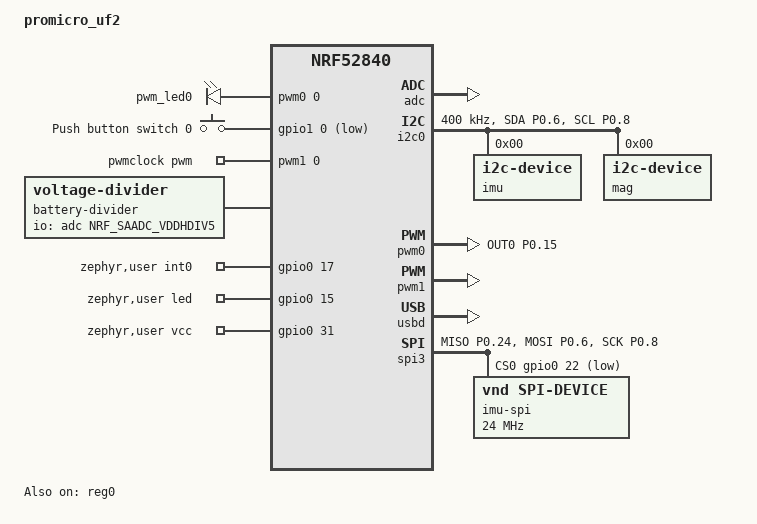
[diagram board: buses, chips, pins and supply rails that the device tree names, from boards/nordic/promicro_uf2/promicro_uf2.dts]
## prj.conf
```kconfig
#CONFIG_NCS_SAMPLES_DEFAULTS
CONFIG_ASSERT=y
CONFIG_ASSERT_NO_COND_INFO=y
CONFIG_ASSERT_NO_MSG_INFO=y
CONFIG_RESET_ON_FATAL_ERROR=y

CONFIG_NCS_APPLICATION_BOOT_BANNER_STRING="SlimeVR-Tracker-nRF"
#CONFIG_NCS_BOOT_BANNER=n
CONFIG_BOOT_BANNER=n

CONFIG_ESB=y
#need to enable for nRF54L
#CONFIG_NRFX_DPPI10=y

CONFIG_ADC=y
CONFIG_ADC_NRFX_SAADC=y
CONFIG_FPU=y
CONFIG_I2C=y
CONFIG_SPI=y
CONFIG_PINCTRL=y
CONFIG_SENSOR=y
CONFIG_ESB=y

CONFIG_CMSIS_DSP=y
CONFIG_CMSIS_DSP_BASICMATH=y
CONFIG_CMSIS_DSP_CONTROLLER=y
CONFIG_CMSIS_DSP_FASTMATH=y
CONFIG_CMSIS_DSP_SUPPORT=y

CONFIG_NVS=y
CONFIG_NVS_LOOKUP_CACHE=y
CONFIG_NVS_INIT_BAD_MEMORY_REGION=y

CONFIG_POWEROFF=y
CONFIG_REBOOT=y

CONFIG_FLASH=y
CONFIG_FLASH_PAGE_LAYOUT=y
CONFIG_FLASH_MAP=y

CONFIG_SETTINGS=y
CONFIG_SETTINGS_RUNTIME=y
CONFIG_SETTINGS_NONE=y

CONFIG_MPU_ALLOW_FLASH_WRITE=y

CONFIG_RETAINED_MEM=y

CONFIG_USE_SEGGER_RTT=y
CONFIG_LOG=y
#CONFIG_PRINTK=y
CONFIG_LOG_MODE_DEFERRED=y
CONFIG_LOG_SPEED=y
CONFIG_LOG_BACKEND_RTT=y
CONFIG_CBPRINTF_FP_SUPPORT=y
CONFIG_ADC_LOG_LEVEL_OFF=y
CONFIG_LOG_FUNC_NAME_PREFIX_ERR=y
CONFIG_LOG_BUFFER_SIZE=1536
CONFIG_LOG_BACKEND_UART_AUTOSTART=n
CONFIG_LOG_PROCESS_THREAD_SLEEP_MS=50
CONFIG_LOG_PROCESS_THREAD_STACK_SIZE=1024

CONFIG_PWM=y
CONFIG_GPIO=y

CONFIG_CRC=y

CONFIG_NEWLIB_LIBC=y
#deprecated?
#CONFIG_NRFX_TIMER1=y

# Use uncalibrated RC clock on boot, will switch to external oscillator in the app after boot
CONFIG_CLOCK_CONTROL_NRF_K32SRC_RC=y
CONFIG_CLOCK_CONTROL_NRF_K32SRC_RC_CALIBRATION=y
CONFIG_CLOCK_CONTROL_NRF_K32SRC_SYNTH=n

# dont need it
CONFIG_CRYPTO=n

# set timeout for 25ms, sufficient for ~1000 bytes
CONFIG_I2C_NRFX_TRANSFER_TIMEOUT=25

CONFIG_USB_DEVICE_HID=y
CONFIG_USB_DEVICE_VID=0x1209
CONFIG_USB_DEVICE_PID=0x7692
CONFIG_USB_HID_BOOT_PROTOCOL=y
CONFIG_USB_DEVICE_INITIALIZE_AT_BOOT=n
CONFIG_USB_CDC_ACM=y
CONFIG_UART_INTERRUPT_DRIVEN=y
CONFIG_USB_WORKQUEUE_STACK_SIZE=512

CONFIG_SERIAL=y
CONFIG_CONSOLE=y
CONFIG_RTT_CONSOLE=y
CONFIG_UART_CONSOLE=y
CONFIG_UART_LINE_CTRL=y
# fit "write all <base64:173>"
CONFIG_CONSOLE_INPUT_MAX_LINE_LEN=256

CONFIG_LOG=y
CONFIG_USB_DRIVER_LOG_LEVEL_ERR=y
CONFIG_USB_DEVICE_LOG_LEVEL_ERR=y
CONFIG_USB_CDC_ACM_LOG_LEVEL_OFF=y

CONFIG_LOG_BACKEND_UART=y

CONFIG_CONSOLE_SUBSYS=y
CONFIG_CONSOLE_GETLINE=y

CONFIG_NVS_LOG_LEVEL_WRN=y
CONFIG_USB_HID_LOG_LEVEL_WRN=y

CONFIG_USB_DEVICE_SOF=y
CONFIG_USB_HID_REPORTS=256

#CONFIG_USB_HID_POLL_INTERVAL_MS=1
CONFIG_USB_HID_POLL_INTERVAL_MS=0
CONFIG_HID_INTERRUPT_EP_MPS=64
#CONFIG_ENABLE_HID_INT_OUT_EP=y

CONFIG_SYSTEM_WORKQUEUE_STACK_SIZE=256
CONFIG_MAIN_STACK_SIZE=512
#crashing on nrf54l at 512

CONFIG_THREAD_NAME=y

CONFIG_HEAP_MEM_POOL_SIZE=2048
CONFIG_ISR_STACK_SIZE=1024

CONFIG_PM_DEVICE=y

CONFIG_BASE64=y

#CONFIG_THREAD_ANALYZER=y
#CONFIG_THREAD_ANALYZER_AUTO=y
#CONFIG_THREAD_ANALYZER_AUTO_INTERVAL=5

#about 20KB saved
#CONFIG_LTO=y
#CONFIG_ISR_TABLES_LOCAL_DECLARATION=y

#CONFIG_USE_IMU_TIMEOUT=n

# Matches the SlimeNRF_Tracker_NoCLK_NoSleep_SPI_StackedSmol build
# Internal RC clock, like the original build. The board may have no external oscillator.
CONFIG_CLOCK_SOURCE_LFCLK_RC=y
CONFIG_USE_SENSOR_CLOCK=n
CONFIG_USER_EXTRA_ACTIONS=y
CONFIG_SENSOR_USE_MAG=n
CONFIG_USE_IMU_WAKE_UP=n
CONFIG_USE_ACTIVE_TIMEOUT=n
CONFIG_SENSOR_LP_TIMEOUT=300000
CONFIG_SENSOR_USE_LOW_POWER_2=n
```

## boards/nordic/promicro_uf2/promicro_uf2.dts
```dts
// Copyright (c) 2024 Nordic Semiconductor ASA
// SPDX-License-Identifier: Apache-2.0

/dts-v1/;
#include <nordic/nrf52840_qiaa.dtsi>

//move to dtsi?
&pinctrl {
	i2c0_default: i2c0_default {
		group1 {
			psels = <NRF_PSEL(TWIM_SDA, 0, 6)>, <NRF_PSEL(TWIM_SCL, 0, 8)>;
			bias-disable;
		};
	};

	i2c0_sleep: i2c0_sleep {
		group1 {
			psels = <NRF_PSEL(TWIM_SDA, 0, 6)>, <NRF_PSEL(TWIM_SCL, 0, 8)>;
			bias-disable;
			low-power-enable;
		};
	};

	pwm0_default: pwm0_default {
		group1 {
			psels = <NRF_PSEL(PWM_OUT0, 0, 15)>;
			nordic,drive-mode = <NRF_DRIVE_D0S1>;
		};
	};

	pwm0_sleep: pwm0_sleep {
		group1 {
			psels = <NRF_PSEL(PWM_OUT0, 0, 15)>;
			low-power-enable;
		};
	};

	pwm1_default: pwm1_default {
		group1 {
			psels = <NRF_PIN_DISCONNECTED>;
		};
	};

	pwm1_sleep: pwm1_sleep {
		group1 {
			psels = <NRF_PIN_DISCONNECTED>;
			low-power-enable;
		};
	};

	spi3_default: spi3_default {
		group1 {
			psels = <NRF_PSEL(SPIM_MISO, 0, 24)>,
					<NRF_PSEL(SPIM_MOSI, 0, 6)>,
					<NRF_PSEL(SPIM_SCK, 0, 8)>;
		};
	};

	spi3_sleep: spi3_sleep {
		group1 {
			psels = <NRF_PSEL(SPIM_MISO, 0, 24)>,
					<NRF_PSEL(SPIM_MOSI, 0, 6)>,
					<NRF_PSEL(SPIM_SCK, 0, 8)>;
			low-power-enable;
		};
	};
};
//end

/ {
	model = "promicro_uf2";
	compatible = "promicro_uf2";

	chosen {
		zephyr,sram = &sram0;
		zephyr,flash = &flash0;
		zephyr,console = &cdc_acm_uart0;
		zephyr,shell-uart = &cdc_acm_uart0;
	};

	pwmleds {
		compatible = "pwm-leds";
		pwm_led0: pwm_led_0 {
			pwms = <&pwm0 0 PWM_MSEC(1) PWM_POLARITY_NORMAL>;
		};
	};

	buttons {
		compatible = "gpio-keys";
		button0: button_0 {
			gpios = <&gpio1 0 (GPIO_PULL_UP | GPIO_ACTIVE_LOW)>;
			label = "Push button switch 0";
		};
	};

	aliases {
		sw0 = &button0; // Uncomment to Enable SW0
		pwm-led0 = &pwm_led0;
	};

	pwmclock: pwmclock {
		compatible = "pwm-clock";
		#clock-cells = <1>;
		pwms = <&pwm1 0 PWM_HZ(32768) PWM_POLARITY_NORMAL>;
	};

	battery-divider {
		compatible = "voltage-divider";
		status = "okay";
		io-channels = <&adc NRF_SAADC_VDDHDIV5>; // Measure VDDHDIV5
		output-ohms = <1>;
		full-ohms = <5>;
	};

	zephyr,user {
		int0-gpios = <&gpio0 17 0>;
		led-gpios = <&gpio0 15 GPIO_OPEN_SOURCE>;
		// // clk-gpios = <&gpio0 20 GPIO_OPEN_DRAIN>; // Uncomment and set to correct pin if using an external clock (crystal oscillator)
		vcc-gpios = <&gpio0 31 0>;
	};

};

&reg0 {
	status = "okay";
};

&reg1 {
	regulator-initial-mode = <NRF5X_REG_MODE_DCDC>;
};

&adc {
	status = "okay";
};

&gpiote {
	status = "okay";
};

&gpio0 {
	status = "okay";
};

&gpio1 {
	status = "okay";
};

&i2c0 {
	compatible = "nordic,nrf-twim";
	status = "okay";
	zephyr,concat-buf-size = <1023>;
	zephyr,flash-buf-max-size = <1023>;
	clock-frequency = <I2C_BITRATE_FAST>;
	pinctrl-0 = <&i2c0_default>;
	pinctrl-1 = <&i2c0_sleep>;
	pinctrl-names = "default", "sleep";

	imu: imu@0 { // any address out of range (00, 7f, etc. will search all addresses and stored address first if available, specify an address here to search first otherwise
		compatible = "i2c-device";
		label = "imu";
		reg = <0>;
	};

	mag: mag@0 {
		compatible = "i2c-device";
		label = "mag";
		reg = <0>;
	};

};

&pwm0 {
	status = "okay";
	pinctrl-0 = <&pwm0_default>;
	pinctrl-1 = <&pwm0_sleep>;
	pinctrl-names = "default", "sleep";
};

&pwm1 {
	status = "okay";
	pinctrl-0 = <&pwm1_default>;
	pinctrl-1 = <&pwm1_sleep>;
	pinctrl-names = "default", "sleep";
};

zephyr_udc0: &usbd {
	compatible = "nordic,nrf-usbd";
	status = "okay";
	cdc_acm_uart0: cdc_acm_uart0 {
		compatible = "zephyr,cdc-acm-uart";
	};
};

&cryptocell {
	status = "disabled";
};

&nfct {
	status = "disabled";
};

&spi3 {
	compatible = "nordic,nrf-spim";
	status = "okay";
	max-frequency = <DT_FREQ_M(24)>;
	pinctrl-0 = <&spi3_default>;
	pinctrl-1 = <&spi3_sleep>;
	pinctrl-names = "default", "sleep";
	cs-gpios = <&gpio0 22 GPIO_ACTIVE_LOW>;

	imu_spi: imu_spi@0 {
		compatible = "vnd,spi-device";
		spi-max-frequency = <DT_FREQ_M(24)>;
		label = "imu-spi";
		reg = <0>;
	};
};
```

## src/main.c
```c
/*
	SlimeVR Code is placed under the MIT license
	Copyright (c) 2025 SlimeVR Contributors

	Permission is hereby granted, free of charge, to any person obtaining a copy
	of this software and associated documentation files (the "Software"), to deal
	in the Software without restriction, including without limitation the rights
	to use, copy, modify, merge, publish, distribute, sublicense, and/or sell
	copies of the Software, and to permit persons to whom the Software is
	furnished to do so, subject to the following conditions:

	The above copyright notice and this permission notice shall be included in
	all copies or substantial portions of the Software.

	THE SOFTWARE IS PROVIDED "AS IS", WITHOUT WARRANTY OF ANY KIND, EXPRESS OR
	IMPLIED, INCLUDING BUT NOT LIMITED TO THE WARRANTIES OF MERCHANTABILITY,
	FITNESS FOR A PARTICULAR PURPOSE AND NONINFRINGEMENT. IN NO EVENT SHALL THE
	AUTHORS OR COPYRIGHT HOLDERS BE LIABLE FOR ANY CLAIM, DAMAGES OR OTHER
	LIABILITY, WHETHER IN AN ACTION OF CONTRACT, TORT OR OTHERWISE, ARISING FROM,
	OUT OF OR IN CONNECTION WITH THE SOFTWARE OR THE USE OR OTHER DEALINGS IN
	THE SOFTWARE.
*/
#include "globals.h"
#include "system/system.h"
//#include "timer.h"
#include "connection/esb.h"
#include "sensor/sensor.h"

#include <zephyr/sys/reboot.h>

LOG_MODULE_REGISTER(main, LOG_LEVEL_INF);

#if DT_NODE_HAS_PROP(DT_ALIAS(sw0), gpios)
#define BUTTON_EXISTS true
#endif

#include <zephyr/drivers/gpio.h>
#define ZEPHYR_USER_NODE DT_PATH(zephyr_user)
#if DT_NODE_HAS_PROP(ZEPHYR_USER_NODE, pwr_gpios)
static const struct gpio_dt_spec pwr = GPIO_DT_SPEC_GET(ZEPHYR_USER_NODE, pwr_gpios);
#endif
#if DT_NODE_HAS_PROP(ZEPHYR_USER_NODE, gnd_gpios)
static const struct gpio_dt_spec gnd = GPIO_DT_SPEC_GET(ZEPHYR_USER_NODE, gnd_gpios);
#endif
#define DFU_EXISTS CONFIG_BUILD_OUTPUT_UF2 || CONFIG_BOARD_HAS_NRF5_BOOTLOADER
#define ADAFRUIT_BOOTLOADER CONFIG_BUILD_OUTPUT_UF2

int main(void)
{
#if DT_NODE_HAS_PROP(ZEPHYR_USER_NODE, pwr_gpios)
    gpio_pin_configure_dt(&pwr, GPIO_OUTPUT_ACTIVE);
    gpio_pin_set_dt(&pwr, 1);
#endif
#if DT_NODE_HAS_PROP(ZEPHYR_USER_NODE, gnd_gpios)
    gpio_pin_configure_dt(&gnd, GPIO_OUTPUT_ACTIVE);
    gpio_pin_set_dt(&gnd, 0);
#endif
#ifdef NRF_RESET
	bool reset_pin_reset = NRF_RESET->RESETREAS & RESET_RESETREAS_RESETPIN_Msk;
	NRF_RESET->RESETREAS = NRF_RESET->RESETREAS; // Clear RESETREAS
#else
	bool reset_pin_reset = NRF_POWER->RESETREAS & POWER_RESETREAS_RESETPIN_Msk;
	NRF_POWER->RESETREAS = NRF_POWER->RESETREAS; // Clear RESETREAS
#endif

#if BUTTON_EXISTS
	if (CONFIG_0_SETTINGS_READ(CONFIG_0_IGNORE_RESET))
		reset_pin_reset = false;
#endif

	set_led(SYS_LED_PATTERN_ONESHOT_WAKE, SYS_LED_PRIORITY_BOOT); // Boot LED

	uint8_t reboot_counter = reboot_counter_read();
	bool booting_from_shutdown = !reboot_counter && (reset_pin_reset || button_read()); // 0 means from user shutdown or failed ram validation

	/* if button is not held after booting from shutdown, power off again
	 * if button press is normal, continue boot
	 * if button is held for 1 second, reset pairing and continue boot
	 * if button is held but tracker was waking (not booting from shutdown) ignore the press // TODO: this should pass on to regular handler (e.g. intent to shutdown)
	 */

	if (booting_from_shutdown)
	{
		set_led(SYS_LED_PATTERN_ONESHOT_POWERON, SYS_LED_PRIORITY_BOOT);
		if (button_read())
		{
			set_status(SYS_STATUS_BUTTON_PRESSED, true); // prevent going to sleep while still holding
			int64_t start_time = k_uptime_get();
			while (button_read())
			{
				if (k_uptime_get() - start_time > 1000)
				{
					LOG_INF("Pairing requested");
					pairing_request_pair();
					break;
				}
				k_msleep(1);
			}
			if (CONFIG_0_SETTINGS_READ(CONFIG_0_USER_SHUTDOWN) && k_uptime_get() - start_time < 50) // debounce // TODO: does sense pin stay configured?
				sys_request_system_silent_off(false);
			set_status(SYS_STATUS_BUTTON_PRESSED, false);
		}
	}

	bool docked = dock_read();

	uint8_t reset_mode = -1;

	if (reboot_counter == 0)
		reboot_counter = 100;
	else if (reboot_counter > 200)
		reboot_counter = 200; // How did you get here
	reset_mode = reboot_counter - 100;
	if (reset_pin_reset && !docked) // Count pin resets while not docked
	{
		reboot_counter++;
		reboot_counter_write(reboot_counter);
		LOG_INF("Reset count: %u", reboot_counter);
#if ADAFRUIT_BOOTLOADER
#if BUTTON_EXISTS
		if (!CONFIG_0_SETTINGS_READ(CONFIG_0_IGNORE_RESET))
			NRF_POWER->GPREGRET = 0x6d; // Using Adafruit bootloader, skip DFU if reset button could be used
#else
		NRF_POWER->GPREGRET = 0x6d; // Using Adafruit bootloader, skip DFU since reset button is used
#endif
#endif
		k_msleep(1000); // Wait before clearing counter and continuing
	}
	reboot_counter_write(100);
	if (!reset_pin_reset && reset_mode == 0) // Only need to check once, if the button is pressed again an interrupt is triggered from before
		reset_mode = -1; // Cancel reset_mode (shutdown)

	if (CONFIG_0_SETTINGS_READ(CONFIG_0_USER_SHUTDOWN))
	{
		bool charging = chg_read();
		bool charged = stby_read();
		bool plugged = vin_read();

		if (reset_mode == 0 && !booting_from_shutdown && !charging && !charged && !plugged) // Reset mode user shutdown, only if unplugged and undocked
			sys_user_shutdown();
	}

	sys_reset_mode(reset_mode);

	return 0;
}
```

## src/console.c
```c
#include "globals.h"
#include "system/system.h"
#include "system/battery_tracker.h"
#include "sensor/sensor.h"
#include "sensor/calibration.h"
#include "connection/esb.h"
#include "build_defines.h"
#include "parse_args.h"
#include "connection/pairing.h"

#if CONFIG_USB_DEVICE_STACK
#define USB DT_NODELABEL(usbd)
#define USB_EXISTS (DT_NODE_HAS_STATUS(USB, okay) && CONFIG_UART_CONSOLE)
#endif

#if (USB_EXISTS || CONFIG_RTT_CONSOLE) && CONFIG_USE_SLIMENRF_CONSOLE

#if USB_EXISTS
#include <zephyr/console/console.h>
#include <zephyr/logging/log_ctrl.h>
#else
#include "system/rtt_console.h"
#endif
#include <zephyr/drivers/gpio.h>
#include <zephyr/sys/base64.h>

#include <ctype.h>

LOG_MODULE_REGISTER(console, LOG_LEVEL_INF);

static void console_thread(void);
#if USB_EXISTS
static struct k_thread console_thread_id;
static K_THREAD_STACK_DEFINE(console_thread_stack, 1024); // TODO: larger stack size to handle print info
#else
K_THREAD_DEFINE(console_thread_id, 1024, console_thread, NULL, NULL, NULL, CONSOLE_THREAD_PRIORITY, 0, 0);
#endif

#define DFU_EXISTS CONFIG_BUILD_OUTPUT_UF2 || CONFIG_BOARD_HAS_NRF5_BOOTLOADER
#define ADAFRUIT_BOOTLOADER CONFIG_BUILD_OUTPUT_UF2
#define NRF5_BOOTLOADER CONFIG_BOARD_HAS_NRF5_BOOTLOADER

#if NRF5_BOOTLOADER
static const struct device *gpio_dev = DEVICE_DT_GET(DT_NODELABEL(gpio0));
#endif

static const char *meows[] = {
	"Mew",
	"Meww",
	"Meow",
	"Meow meow",
	"Mrrrp",
	"Mrrf",
	"Mreow",
	"Mrrrow",
	"Mrrr",
	"Purr",
	"mew",
	"meww",
	"meow",
	"meow meow",
	"mrrrp",
	"mrrf",
	"mreow",
	"mrrrow",
	"mrrr",
	"purr",
};

static const char *meow_punctuations[] = {
	".",
	"?",
	"!",
	"-",
	"~",
	""
};

static const char *meow_suffixes[] = {
	" :3",
	" :3c",
	" ;3",
	" ;3c",
	" x3",
	" x3c",
	" X3",
	" X3c",
	" >:3",
	" >:3c",
	" >;3",
	" >;3c",
	""
};

static uint8_t meow_colors[] = {
	212,
	176,
	177
};

void console_thread_create(void)
{
#if USB_EXISTS
	k_thread_create(&console_thread_id, console_thread_stack, K_THREAD_STACK_SIZEOF(console_thread_stack), (k_thread_entry_t)console_thread, NULL, NULL, NULL, CONSOLE_THREAD_PRIORITY, 0, K_NO_WAIT);
#endif
}

void console_thread_abort(void)
{
#if USB_EXISTS
	k_thread_abort(&console_thread_id);
#endif
}

static void print_board(void)
{
#if USB_EXISTS
	printk(CONFIG_USB_DEVICE_MANUFACTURER " " CONFIG_USB_DEVICE_PRODUCT "\n");
#endif
	printk(FW_STRING);
    printk("Commit: " TOSTRING(APP_BUILD_VERSION) "\n");
    printk("Build: %d-%02d-%02d %02d:%02d:%02d\n", BUILD_YEAR, BUILD_MONTH, BUILD_DAY, BUILD_HOUR, BUILD_MIN, BUILD_SEC);

	printk("\nBoard: " CONFIG_BOARD "\n");
	printk("SOC: " CONFIG_SOC "\n");
	printk("Target: " CONFIG_BOARD_TARGET "\n");
}

static void print_sensor(void)
{
	printk("IMU: %s\n", (retained->imu_addr & 0x7F) != 0x7F ? sensor_get_sensor_imu_name() : "Not searching");
	if (retained->imu_reg != 0xFF)
		printk("Interface: %s\n", (retained->imu_reg & 0x80) ? "SPI" : "I2C");
	printk("Address: 0x%02X%02X\n", retained->imu_addr, retained->imu_reg);

#if SENSOR_MAG_EXISTS
	printk("\nMagnetometer: %s\n", (retained->mag_addr & 0x7F) != 0x7F ? sensor_get_sensor_mag_name() : "Not searching");
	if (retained->mag_reg != 0xFF)
		printk("Interface: %s%s\n", (retained->mag_reg & 0x80) ? "SPI" : "I2C", (retained->mag_addr & 0x80) ? ", external" : "");
	printk("Address: 0x%02X%02X\n", retained->mag_addr, retained->mag_reg);
#endif

	if (CONFIG_1_SETTINGS_READ(CONFIG_1_SENSOR_USE_6_SIDE_CALIBRATION))
	{
		printk("\nAccelerometer matrix:\n");
		for (int i = 0; i < 3; i++)
			printk("%.5f %.5f %.5f %.5f\n", (double)retained->accBAinv[0][i], (double)retained->accBAinv[1][i], (double)retained->accBAinv[2][i], (double)retained->accBAinv[3][i]);
	}
	else
	{
		printk("\nAccelerometer bias: %.5f %.5f %.5f\n", (double)retained->accelBias[0], (double)retained->accelBias[1], (double)retained->accelBias[2]);
	}
	printk("Gyroscope bias: %.5f %.5f %.5f\n", (double)retained->gyroBias[0], (double)retained->gyroBias[1], (double)retained->gyroBias[2]);
#if SENSOR_MAG_EXISTS
//	printk("Magnetometer bridge offset: %.5f %.5f %.5f\n", (double)retained->magBias[0], (double)retained->magBias[1], (double)retained->magBias[2]);
	printk("Magnetometer matrix:\n");
	for (int i = 0; i < 3; i++)
		printk("%.5f %.5f %.5f %.5f\n", (double)retained->magBAinv[0][i], (double)retained->magBAinv[1][i], (double)retained->magBAinv[2][i], (double)retained->magBAinv[3][i]);
#endif

	printk("\nFusion: %s\n", sensor_get_sensor_fusion_name());
}

static void print_connection(void)
{
	int active = pairing_active_slot();
	int other = active == 0 ? 1 : 0;
	bool paired = (pairing_paired_mask() & (1 << active)) != 0;
	printk(paired ? "Tracker ID: %u\n" : "Tracker ID: None\n", pairing_get_tracker_id(active));
	printk("Device address: %012llX\n", *(uint64_t *)NRF_FICR->DEVICEADDR & 0xFFFFFFFFFFFF);
	printk(paired ? "Receiver address: %012llX\n" : "Receiver address: None\n", pairing_get_dongle(active));
	if (pairing_paired_mask() & (1 << other))
		printk("Second receiver address: %012llX, tracker ID: %u\n", pairing_get_dongle(other), pairing_get_tracker_id(other));
	printk("Channel frequency: %d\n", esb_get_frequency());
	printk("Device status: %d, ESB state: %d\n", get_status(SYS_STATUS_ALL), esb_get_tracker_state());
}

static void print_battery(void)
{
	int battery_mV = sys_get_valid_battery_mV();
	int16_t calibrated_pptt = sys_get_calibrated_battery_pptt(sys_get_valid_battery_pptt());
	uint64_t unplugged_time = sys_get_last_unplugged_time();
	uint64_t remaining = sys_get_battery_remaining_time_estimate();
	uint64_t runtime = sys_get_battery_runtime_estimate();
	if (battery_mV > 0)
	{
		unplugged_time = k_ticks_to_us_floor64(k_uptime_ticks() - unplugged_time);
		uint32_t hours = unplugged_time / 3600000000;
		unplugged_time %= 3600000000;
		uint8_t minutes = unplugged_time / 60000000;
		if (hours > 0 || minutes > 0)
			printk("Battery: %.0f%% (Read %uh %umin ago)\n", (double)calibrated_pptt / 100.0, hours, minutes);
		else
			printk("Battery: %.0f%%\n", (double)calibrated_pptt / 100.0);
	}
	else if (unplugged_time == 0)
	{
		printk("Battery: Waiting for valid reading\n");
	}
	else
	{
		printk("Battery: None\n");
	}
	if (remaining > 0)
	{
		remaining = k_ticks_to_us_floor64(remaining);
		uint32_t hours = remaining / 3600000000;
		remaining %= 3600000000;
		uint8_t minutes = remaining / 60000000;
		printk("Remaining runtime: %uh %umin\n", hours, minutes);
	}
	else
	{
		printk("Remaining runtime: Not available\n");
	}
	if (runtime > 0)
	{
		runtime = k_ticks_to_us_floor64(runtime);
		uint32_t hours = runtime / 3600000000;
		runtime %= 3600000000;
		uint8_t minutes = runtime / 60000000;
		printk("Fully charged runtime: %uh %umin\n", hours, minutes);
	}
	else
	{
		printk("Fully charged runtime: Not available\n");
	}
}

static void print_info(void)
{
	print_board();
	printk("\n");
	print_sensor();
	printk("\n");
	print_connection();
	printk("\n");
	print_battery();
}

static void print_uptime(const uint64_t ticks, const char *name)
{
	uint64_t uptime = k_ticks_to_us_floor64(ticks);

	uint32_t hours = uptime / 3600000000;
	uptime %= 3600000000;
	uint8_t minutes = uptime / 60000000;
	uptime %= 60000000;
	uint8_t seconds = uptime / 1000000;
	uptime %= 1000000;
	uint16_t milliseconds = uptime / 1000;
	uint16_t microseconds = uptime % 1000;

	printk("%s: %02u:%02u:%02u.%03u,%03u\n", name, hours, minutes, seconds, milliseconds, microseconds);
}

static void print_battery_tracker(void)
{
	int adc_mV = sys_get_battery_mV();
	printk("ADC: %d mV\n", adc_mV);

	int battery_mV = sys_get_valid_battery_mV();
	int16_t pptt = sys_get_valid_battery_pptt();
	int16_t calibrated_pptt = sys_get_calibrated_battery_pptt(pptt);
	uint64_t unplugged_time = sys_get_last_unplugged_time();
	if (battery_mV > 0)
		printk("\nBattery: %.2f%% (Raw %.2f%%, %d mV)\n", (double)calibrated_pptt / 100.0, (double)pptt / 100.0, battery_mV);
	else
		printk("\nBattery: None\n");
	if (unplugged_time > 0)
		print_uptime(k_uptime_ticks() - unplugged_time, "Last updated");
	else
		printk("Last updated: Never\n");

	uint64_t runtime = sys_get_battery_runtime_estimate();
	uint64_t runtime_min = sys_get_battery_runtime_min_estimate();
	uint64_t runtime_max = sys_get_battery_runtime_max_estimate();
	uint64_t remaining = sys_get_battery_remaining_time_estimate();
	if (remaining > 0)
		print_uptime(remaining, "\nRemaining runtime");
	else
		printk("Remaining runtime: Not available\n");
	if (runtime > 0)
		print_uptime(runtime, "Fully charged runtime");
	else
		printk("Fully charged runtime: Not available\n");
	if (runtime_min > 0)
		print_uptime(runtime_min, "Minimum runtime");
	else
		printk("Minimum runtime: Not available\n");
	if (runtime_max > 0)
		print_uptime(runtime_max, "Maximum runtime");
	else
		printk("Maximum runtime: Not available\n");

	int16_t last_min = sys_get_last_cycle_min_pptt();
	int16_t last_max = sys_get_last_cycle_max_pptt();
	int16_t last_calibrated_min = sys_get_calibrated_battery_pptt(last_min);
	int16_t last_calibrated_max = sys_get_calibrated_battery_pptt(last_max);
	uint64_t last_runtime = sys_get_last_cycle_runtime();
	if (last_min >= 0 && last_max >= 0 && last_runtime > 0)
	{
		printk("\nLast discharge cycle: %.2f%% -> %.2f%% (Raw %.2f%% -> %.2f%%)\n", (double)last_calibrated_max / 100.0, (double)last_calibrated_min / 100.0, (double)last_max / 100.0, (double)last_min / 100.0);
		print_uptime(last_runtime, "Last cycle runtime");
	}
	else
	{
		printk("\nLast cycle: Not available\n");
	}

	uint8_t coverage = sys_get_battery_calibration_coverage() * 5;
	int16_t min = sys_get_calibrated_battery_range_min_pptt();
	int16_t max = sys_get_calibrated_battery_range_max_pptt();
	if (min >= 0 && max >= 0)
		printk("\nCalibration: %.0f%% - %.0f%% (%.0f%% coverage)\n", (double)min / 100.0, (double)max / 100.0, (double)coverage);
	else
		printk("\nCalibration: None\n");
	printk("Cycle count: ~%.2f\n", (double)sys_get_battery_cycles() / 20.0);
}

static void print_meow(void)
{
	int64_t ticks = k_uptime_ticks();

	ticks %= ARRAY_SIZE(meows) * ARRAY_SIZE(meow_punctuations) * ARRAY_SIZE(meow_suffixes) * ARRAY_SIZE(meow_colors); // silly number generator
	uint8_t meow = ticks / (ARRAY_SIZE(meow_punctuations) * ARRAY_SIZE(meow_suffixes) * ARRAY_SIZE(meow_colors));
	ticks %= ARRAY_SIZE(meow_punctuations) * ARRAY_SIZE(meow_suffixes) * ARRAY_SIZE(meow_colors);
	uint8_t punctuation = ticks / (ARRAY_SIZE(meow_suffixes) * ARRAY_SIZE(meow_colors));
	ticks %= ARRAY_SIZE(meow_suffixes) * ARRAY_SIZE(meow_colors);
	uint8_t suffix = ticks / ARRAY_SIZE(meow_suffixes);
	uint8_t color = ticks % ARRAY_SIZE(meow_colors);

	printk("\033[38;5;%d;1m%s%s\033[0;38;2;255;255;255m%s\033[0m\n", meow_colors[color], meows[meow], meow_punctuations[punctuation], meow_suffixes[suffix]);
}

static int32_t parse_config_settings_id(char *s)
{
	int32_t id = parse_i32(s, 10);
	uint8_t buf[12];
	snprintk(buf, 12, "%d", id);
	if (strcmp(buf, s) != 0)
		return -1;
	return id;
}

static int parse_config_settings_write(char *s, int32_t v)
{
	int32_t id = parse_config_settings_id(s);
	uint16_t k = 0;
	int err = -1;
	for (int i = 0; i < CONFIG_SETTINGS_COUNT; i++)
	{
		for (int j = 0; j < config_settings_count[i]; j++)
		{
			if (id < 0 ? strcmp(s, config_settings_names[k]) == 0 : id == k)
			{
				switch (i)
				{
				case 0:
					if (v < 0 || v > 1)
						break;
					config_0_settings_write(j, v);
					err = 0;
					break;
				case 1:
					if (v < 0 || v > 1)
						break;
					config_1_settings_write(j, v);
					err = 0;
					break;
				case 2:
					if (v < INT16_MIN || v > INT16_MAX)
						break;
					config_2_settings_write(j, v);
					err = 0;
					break;
				case 3:
					config_3_settings_write(j, v);
					err = 0;
					break;
				default:
					break;
				}
				if (!err)
					printk("Updated config: %s=%d\n", config_settings_names[k], v);
				else
					printk("Invalid value\n");
				return err;
			}
			k++;
		}
	}
	printk("Invalid config name or id\n");
	return -1;
}

static void parse_config_settings_read(char *s)
{
	int32_t id = parse_config_settings_id(s);
	uint16_t k = 0;
	for (int i = 0; i < CONFIG_SETTINGS_COUNT; i++)
	{
		for (int j = 0; j < config_settings_count[i]; j++)
		{
			if (id < 0 ? strcmp(s, config_settings_names[k]) == 0 : id == k)
			{
				int32_t val = -1;
				switch (i)
				{
				case 0:
					val = CONFIG_0_SETTINGS_READ(j) ? 1 : 0;
					break;
				case 1:
					val = CONFIG_1_SETTINGS_READ(j) ? 1 : 0;
					break;
				case 2:
					val = CONFIG_2_SETTINGS_READ(j);
					break;
				case 3:
					val = CONFIG_3_SETTINGS_READ(j);
					break;
				default:
					break;
				}
				printk("Read config: %s=%d\n", config_settings_names[k], val);
				return;
			}
			k++;
		}
	}
	printk("Invalid config name or id\n");
}

static void parse_config_settings_read_all()
{
	uint16_t k = 0;
	for (int i = 0; i < CONFIG_SETTINGS_COUNT; i++)
	{
		for (int j = 0; j < config_settings_count[i]; j++)
		{
			int32_t val = -1;
			switch (i)
			{
			case 0:
				val = CONFIG_0_SETTINGS_READ(j) ? 1 : 0;
				break;
			case 1:
				val = CONFIG_1_SETTINGS_READ(j) ? 1 : 0;
				break;
			case 2:
				val = CONFIG_2_SETTINGS_READ(j);
				break;
			case 3:
				val = CONFIG_3_SETTINGS_READ(j);
				break;
			default:
				break;
			}
			printk("Read config: %s=%d\n", config_settings_names[k], val);
			k++;
		}
	}
}

static int parse_config_settings_reset(char *s)
{
	int32_t id = parse_config_settings_id(s);
	uint16_t k = 0;
	for (int i = 0; i < CONFIG_SETTINGS_COUNT; i++)
	{
		for (int j = 0; j < config_settings_count[i]; j++)
		{
			if (id < 0 ? strcmp(s, config_settings_names[k]) == 0 : id == k)
			{
				config_settings_reset(i, j);
				return 0;
			}
			k++;
		}
	}
	printk("Invalid config name or id\n");
	return -1;
}

static inline void strtolower(char *str)
{
	for (int i = 0; str[i]; i++)
		str[i] = tolower(str[i]);
}

static void print_help(void)
{
	printk("\nhelp                         Display this help text\n");

	printk("\ninfo                         Get device information\n");
	printk("uptime                       Get device uptime\n");
	printk("reboot                       Soft reset the device\n");
	printk("shutdown                     Power off the device\n");
	printk("battery                      Get battery information\n");
	printk("\nscan                         Restart sensor scan\n");
	printk("calibrate                    Calibrate sensor ZRO\n");
	printk("6-side                       Calibrate 6-side accelerometer\n");
#if SENSOR_MAG_EXISTS
	printk("mag                          Clear magnetometer calibration\n");
#endif
	printk("\nset <address> <id>         Manually set receiver\n");
	printk("\nping <address>             Ping specified address\n");
	printk("pair                         Enter pairing mode\n");
	printk("clear                        Clear pairing data\n");
#if DFU_EXISTS
	printk("\ndfu                          Enter DFU bootloader\n");
#endif
	printk("\nmeow                         Meow!\n");
	printk("\nled <r> <g> <b> <bright> <timeout>  LED Override\n");

#if SENSOR_MAG_EXISTS
	printk("\nreset_data (zro|acc|mag|bat|all)\n");
#else
	printk("\nreset_data (zro|acc|bat|all)\n");
#endif

	printk("\nlist_config                  Display available settings\n");
	printk("write_config (base64|<config name>|<config id>) <value>\n");
	printk("read_config (all|base64|<config name>|<config id>)\n");
	printk("reset_config (all|<config name>|<config id>)\n");
}

static void console_thread(void)
{
#if USB_EXISTS
	console_getline_init();
	while (log_data_pending())
		k_usleep(1);
	k_msleep(100);
	printk("*** " CONFIG_USB_DEVICE_MANUFACTURER " " CONFIG_USB_DEVICE_PRODUCT " ***\n");
#endif
	printk(FW_STRING);
	print_help();

	const char command_help[] = "help";

	const char command_info[] = "info";
	const char command_uptime[] = "uptime";
	const char command_reboot[] = "reboot";
	const char command_shutdown[] = "shutdown";
	const char command_battery[] = "battery";
	const char command_scan[] = "scan";
	const char command_calibrate[] = "calibrate";
	const char command_6_side[] = "6-side";
#if SENSOR_MAG_EXISTS
	const char command_mag[] = "mag";
#endif
	const char command_set[] = "set";
	const char command_ping[] = "ping";
	const char command_pair[] = "pair";
	const char command_clear[] = "clear";
#if DFU_EXISTS
	const char command_dfu[] = "dfu";
#endif
	const char command_meow[] = "meow";
	const char command_led[] = "led";

	// data
	const char command_reset_data[] = "reset_data";
	const char command_reset_arg_zro[] = "zro";
	const char command_reset_arg_acc[] = "acc";
#if SENSOR_MAG_EXISTS
	const char command_reset_arg_mag[] = "mag";
#endif
	const char command_reset_arg_bat[] = "bat";
	const char command_reset_arg_all[] = "all";

	// settings
	const char command_list_config[] = "list_config";
	const char command_write_config[] = "write_config";
	const char command_read_config[] = "read_config";
	const char command_reset_config[] = "reset_config";
	const char command_wr_arg_all[] = "all";
	const char command_wr_arg_base64[] = "base64";

	// debug
	const char command_nvs[] = "nvs";

	while (1) {
#if USB_EXISTS
		char *line = console_getline();
#else
		char *line = rtt_console_getline();
#endif
		char* argv[7] = {NULL}; // command and 4 args
		size_t argc = parse_args(line, argv, ARRAY_SIZE(argv));
		if(argc == 0)
			continue;
		if(argc > 0)
			strtolower(argv[0]); // lower case the command
		if(argc > 1)
			strtolower(argv[1]); // lower case the first argument
		// only care that the first words are matchable

		if (strcmp(argv[0], command_help) == 0)
		{
			print_help();
		}
		else if (strcmp(argv[0], command_info) == 0)
		{
			print_info();
		}
		else if (strcmp(argv[0], command_uptime) == 0)
		{
			uint64_t uptime = k_uptime_ticks();
			print_uptime(uptime, "Uptime");
			print_uptime(uptime - retained->uptime_latest + retained->uptime_sum, "Accumulated");
		}
		else if (strcmp(argv[0], command_reboot) == 0)
		{
			sys_request_system_reboot(false);
		}
		else if (strcmp(argv[0], command_shutdown) == 0)
		{
			sys_request_system_silent_off(true);
		}
		else if (strcmp(argv[0], command_battery) == 0)
		{
			print_battery_tracker();
		}
		else if (strcmp(argv[0], command_scan) == 0)
		{
			sensor_request_scan(true);
		}
		else if (strcmp(argv[0], command_calibrate) == 0)
		{
			sensor_request_calibration();
		}
		else if (strcmp(argv[0], command_6_side) == 0)
		{
			sensor_request_calibration_6_side();
		}
#if SENSOR_MAG_EXISTS
		else if (strcmp(argv[0], command_mag) == 0)
		{
			sensor_calibration_clear_mag(NULL, true);
		}
#endif
		else if (strcmp(argv[0], command_set) == 0)
		{
			if (argc != 3)
			{
				printk("Invalid number of arguments\n");
				continue;
			}
			uint64_t addr = parse_u64(argv[1], 16);
			uint64_t tracker_id = parse_u64(argv[2], 10);
			uint8_t buf[17];
			snprintk(buf, 17, "%016llx", addr);
			if (addr != 0 && strcmp(buf, argv[1]) == 0)
				pairing_set_pair(addr, tracker_id);
			else
				printk("Invalid address\n");
		}
		else if (strcmp(argv[0], command_ping) == 0)
		{
			if (argc != 3)
			{
				printk("Invalid number of arguments\n");
				continue;
			}
			uint64_t addr = parse_u64(argv[1], 16);
			uint64_t channel = parse_u64(argv[2], 10);
			printk("Sending PING to %012llx on channel %d\n", addr, (int) channel);
			esb_ping(addr, channel);
		}
		else if (strcmp(argv[0], command_pair) == 0)
		{
			pairing_request_pair();
		}
		else if (strcmp(argv[0], command_clear) == 0)
		{
			pairing_clear_pair();
		}
#if DFU_EXISTS
		else if (strcmp(argv[0], command_dfu) == 0)
		{
#if ADAFRUIT_BOOTLOADER
			sys_request_system_dfu_uf2(false);
#endif
#if NRF5_BOOTLOADER
			gpio_pin_configure(gpio_dev, 19, GPIO_OUTPUT | GPIO_OUTPUT_INIT_LOW);
#endif
		}
#endif
		else if (strcmp(argv[0], command_meow) == 0)
		{
			print_meow();
		}
		else if (strcmp(argv[0], command_led) == 0)
		{
			if (argc != 6)
			{
				printk("Invalid number of arguments\n");
				continue;
			}
			uint64_t r = parse_u64(argv[1], 16);
			uint64_t g = parse_u64(argv[2], 16);
			uint64_t b = parse_u64(argv[3], 16);
			uint64_t br = parse_u64(argv[4], 16);
			uint64_t timeout = parse_u64(argv[5], 16);
			led_override(U_PATTERN_ON, r, g, b, br, timeout);
		}
		else if (strcmp(argv[0], command_reset_data) == 0)
		{
			if (argc != 2)
				printk("Invalid number of arguments\n");
			else if (strcmp(argv[1], command_reset_arg_zro) == 0)
				sensor_calibration_clear(NULL, NULL, true);
			else if (strcmp(argv[1], command_reset_arg_acc) == 0)
				sensor_calibration_clear_6_side(NULL, true);
#if SENSOR_MAG_EXISTS
			else if (strcmp(argv[1], command_reset_arg_mag) == 0)
				sensor_calibration_clear_mag(NULL, true);
#endif
			else if (strcmp(argv[1], command_reset_arg_bat) == 0)
				sys_reset_battery_tracker();
			else if (strcmp(argv[1], command_reset_arg_all) == 0)
				sys_clear();
			else
				printk("Invalid argument\n");
		}
		else if (strcmp(line, command_list_config) == 0)
		{
			uint16_t k = 0;
			for (int i = 0; i < CONFIG_SETTINGS_COUNT; i++)
			{
				printk("Config %d:\n", i);
				for (int j = 0; j < config_settings_count[i]; j++)
				{
					printk("%u: %s\n", k, config_settings_names[k]);
					k++;
				}
			}
		}
		else if (strcmp(argv[0], command_write_config) == 0)
		{
			if (argc != 3)
			{
				printk("Invalid number of arguments\n");
			}
			else if (strcmp(argv[1], command_wr_arg_base64) == 0)
			{
				uint8_t *tmp = k_malloc(128);
				uint16_t len = 0;
				int err = base64_decode(tmp, 128, (size_t *)&len, argv[2], 172);
				if (err)
				{
					printk("Unable to decode input");
					continue;
				}
				//printk("decode: %d, len %d\n", err, len);
				memcpy(retained->settings, tmp, sizeof(retained->settings));
				config_settings_init(); // reset any non-overridden values
				sys_write(SETTINGS_ID, NULL, retained->settings, sizeof(retained->settings));
				k_free(tmp);
				printk("Updated config\n");
			}
			else
			{
				int32_t val = parse_i32(argv[2], 10);
				parse_config_settings_write(argv[1], val);
			}
		}
		else if (strcmp(line, command_read_config) == 0)
		{
			if (argc != 2)
			{
				printk("Invalid number of arguments\n");
			}
			else if (strcmp(argv[1], command_wr_arg_all) == 0)
			{
				parse_config_settings_read_all();
			}
			else if (strcmp(argv[1], command_wr_arg_base64) == 0)
			{
				uint8_t *tmp = k_malloc(173);
				uint16_t len = 0;
				base64_encode(tmp, 173, (size_t *)&len, retained->settings, 128);
				//printk("encode: %d, len %d\n", err, len);
				printk("%s\n", tmp);
				k_free(tmp);
			}
			else
			{
				parse_config_settings_read(argv[1]);
			}
		}
		else if (strcmp(line, command_reset_config) == 0)
		{
			if (argc != 2)
			{
				printk("Invalid number of arguments\n");
			}
			else if (strcmp(argv[1], command_wr_arg_all) == 0)
			{
				config_settings_reset_all();
			}
			else
			{
				if (!parse_config_settings_reset(argv[1]))
					printk("Reset config: %s\n", argv[1]);
			}
		}
		else if (strcmp(line, command_nvs) == 0)
		{
			sys_nvs_stats();
		}
		else
		{
			printk("Unknown command\n");
		}
	}
}

#endif
```

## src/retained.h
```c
/*
 * Copyright (c) 2021 Nordic Semiconductor ASA
 *
 * SPDX-License-Identifier: Apache-2.0
 */

#ifndef RETAINED_H_
#define RETAINED_H_

#include <stdbool.h>
#include <stddef.h>
#include <stdint.h>

struct retained_data {
	/* The build version of the firmware that last updated the
	 * retained data.
	 */
	uint32_t build_timestamp;

	/* The uptime from the current session the last time the
	 * retained data was updated.
	 */
	uint64_t uptime_latest;

	/* Cumulative uptime from all previous sessions up through
	 * uptime_latest of this session.
	 */
	uint64_t uptime_sum;

	/* Battery statistics.  Tracking for discharge curve only begins
	 * after ~3% discharged.  If battery_pptt has changed significantly
	 * compared to min_battery_pptt since the last update,
	 * the statistics are cleared and may be saved to NVS.
	 */
	int16_t max_battery_pptt;
	int16_t min_battery_pptt;

	/* Battery uptime from last retained update */
	uint64_t battery_uptime_latest;

	/* Cumulative runtime */
	uint64_t battery_runtime_sum;

	/* Last interval stored in NVS */
	int16_t battery_pptt_saved;
	uint64_t battery_runtime_saved;

	/* Calibrated discharge curve */
	int16_t battery_pptt_curve[18];

	uint8_t reboot_counter;
	uint8_t paired_addr[8];
	uint8_t last_dongle_channel;
	uint8_t tdma_window;

	uint8_t sensor_data[128];
	/* Fills a padding byte: this struct is exactly at its 1 KB limit, so
	 * nothing larger fits. The second pairing lives only in NVS for that reason.
	 */
	uint8_t active_pair_slot;

	float accelBias[3];
	float gyroBias[3];
	float magBias[3];
	float magBAinv[4][3];
	float accBAinv[4][3];

	uint8_t fusion_id; // fusion_data_stored
	uint8_t fusion_data[512];

	uint16_t imu_addr;
	uint16_t mag_addr;

	uint8_t imu_reg;
	uint8_t mag_reg;

	uint8_t settings[128];

	/* CRC used to validate the retained data.  This must be
	 * stored little-endian, and covers everything up to but not
	 * including this field.
	 */
	uint32_t crc;
};

/* Up to 1 KB of retained data allowed right now.
 */
#define RETAINED_SIZE (sizeof(struct retained_data))

/* For simplicity in the sample just allow anybody to see and
 * manipulate the retained state.
 */
extern struct retained_data *retained;

/* Check whether the retained data is valid, and if not reset it.
 *
 * @return true if and only if the data was valid and reflects state
 * from previous sessions.
 */
bool retained_validate(void);

/* Update any generic retained state and recalculate its checksum so
 * subsequent boots can verify the retained state.
 */
void retained_update(void);

#endif /* RETAINED_H_ */
```
